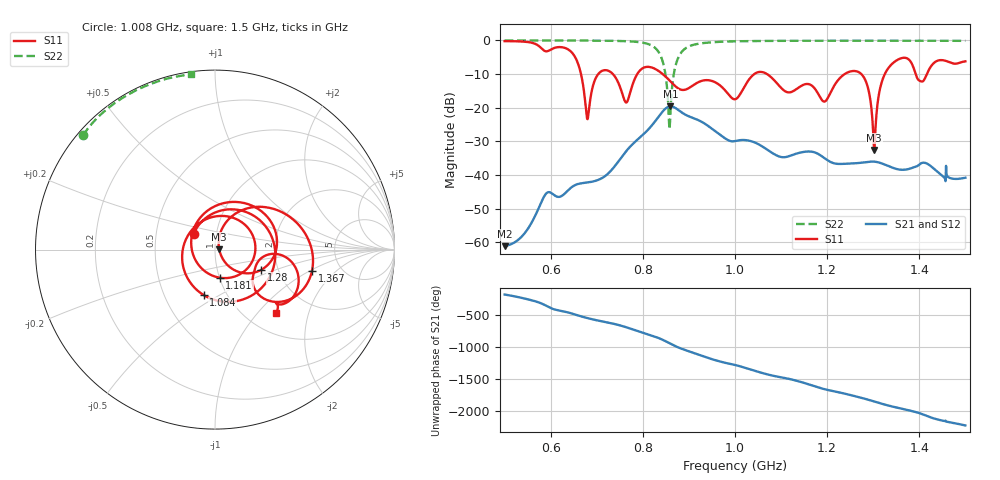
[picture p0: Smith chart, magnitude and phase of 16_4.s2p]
! TOUCHSTONE file generated by CST MICROWAVE STUDIO
! Date and time: Sat Nov 14 20:00:21 2020
! Project name: Scenario_1_Planar_Body_Tissue_Out_of_Line.cst
! Parameters = {dy1=86.5; L_HA=400; Ltissue=700; MT=2.54; Rad_Dielectric=30; Rad_Lower=7.3; Rad_Upper=30; Wtissue=700; a_HA=580; a_WG=246; b_HA=500; b_WG=121; c_HA=0; c_WG=187; d_feed=85; dx1=693; h_feed=15; h_lower=18; h_upper=40; hfat=3; hgap=25; hmuscle=50; hskin=1.5}
! Header version: 2018
! Port assignment regex: !\s*Touchstone port\s*([0-9]+)\s*=\s*(CST MWS port|CST DS port)\s*([0-9]+|Zmin|Zmax)\s*\(\"(.*)\"\)(\s*mode\s*([0-9]+))?.*
! Touchstone port assignment:
! Touchstone port 1 = CST MWS port 1 ("")
! Touchstone port 2 = CST MWS port 2 ("")
# GHz S DB R 50
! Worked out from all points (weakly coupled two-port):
!   1003 points, 500 MHz to 1.5 GHz, reference 50 ohm
!   highest |S21| = -19.57 dB at 860 MHz (marker M1); lowest = -61.1 dB at 500 MHz (marker M2)
!   lowest |S11| = -32.6 dB at 1.302 GHz (marker M3), VSWR 1.05, Z = 52.4 + j0.171 ohm
!   |S11| at or under -10 dB: 735.1 MHz to 787.8 MHz (52.68 MHz wide, 6.92 % of centre); 843.2 MHz to 1.042 GHz (198.4 MHz wide, 21.1 % of centre); 1.07 GHz to 1.238 GHz (168.3 MHz wide, 14.6 % of centre)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
!   |S22| runs from -26.4 to 0.0 dB; largest |S21 - S12| = 0.002
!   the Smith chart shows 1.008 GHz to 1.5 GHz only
!   S11 on the Smith chart (normalised r, x): 1.008 GHz: 0.78, +0.14; 1.084 GHz: 0.78, -0.42; 1.181 GHz: 1.00, -0.32; 1.28 GHz: 1.63, -0.40; 1.367 GHz: 3.09, -1.04; 1.5 GHz: 1.36, -1.26
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0.5  -0.20 -121.6  -61.10 -172.4  -61.10 -172.4  -0.01 151.2
0.622  -1.99 173.1  -46.32 -67.8  -46.32 -67.8  -0.02 142.4
0.667  -10.75 99.1  -42.42 -158.0  -42.41 -158.1  -0.04 138.4
0.68  -23.39 149.6  -42.18 176.4  -42.18 176.4  -0.05 137.1
0.71  -9.15 160.3  -40.98 127.2  -40.98 127.2  -0.08 133.6
0.764  -18.44 -29.6  -32.86 32.7  -32.86 32.7  -0.23 124.6
0.797  -8.51 165.6  -28.42 -45.2  -28.42 -45.2  -0.60 114.0
0.834  -9.05 60.0  -22.69 -136.3  -22.69 -136.3  -3.39 83.8
0.86  -12.17 -20.4  -19.57 133.2  -19.57 133.2  -20.99 -108.9
0.888  -14.71 -130.2  -21.71 44.1  -21.71 44.1  -2.87 178.4
1  -17.47 -176.3  -29.89 159.6  -29.89 159.6  -0.26 140.2
1.008  -16.61 143.1  -29.67 144.4  -29.67 144.4  -0.24 139.1
1.049  -9.47 -2.7  -30.69 53.9  -30.69 53.9  -0.17 134.5
1.084  -11.67 -104.1  -33.69 -12.6  -33.69 -12.6  -0.13 131.1
1.167  -13.44 -24.7  -33.05 -162.1  -33.05 -162.1  -0.09 124.2
1.181  -15.97 -80.2  -33.75 165.4  -33.75 165.4  -0.09 123.1
1.229  -10.99 70.3  -36.68 83.0  -36.68 83.0  -0.09 119.4
1.28  -11.04 -23.8  -36.22 -9.2  -36.23 -9.2  -0.08 115.6
1.302  -32.56 4.0  -36.00 -55.3  -36.00 -55.3  -0.08 113.9
1.334  -8.00 34.7  -37.38 -121.8  -37.38 -121.8  -0.09 111.5
1.367  -5.14 -12.2  -38.40 -177.2  -38.40 -177.2  -0.09 109.0
1.5  -6.21 -45.9  -40.77 -72.9  -40.77 -72.9  -0.13 98.0
